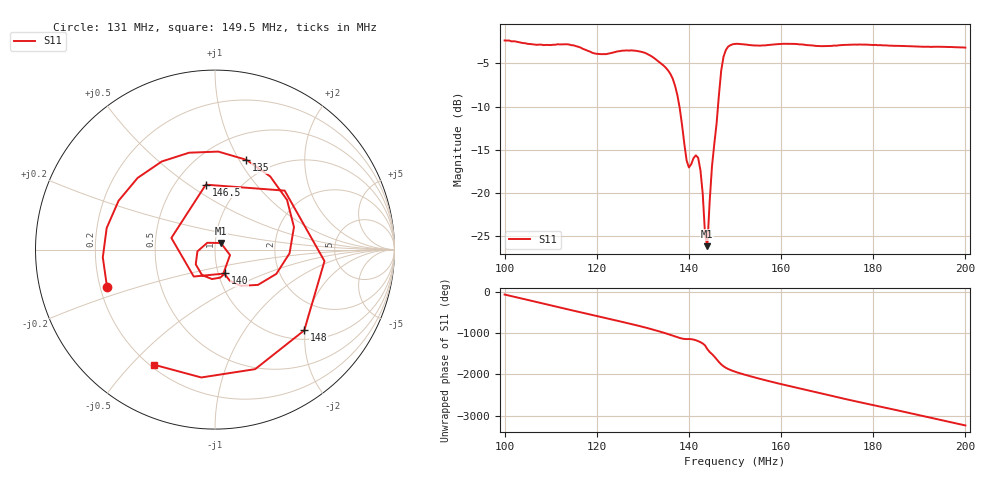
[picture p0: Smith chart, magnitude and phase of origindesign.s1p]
#  HZ  S  RI  R  50.00
! Rohde & Schwarz ZVA40 2Ports - Version 3.12 - 1145.1110k40 SN: 100360
! Date: 2019-07-29 15:19:06
! Measurement: S11
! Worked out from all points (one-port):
!   201 points, 100 MHz to 200 MHz, reference 50 ohm
!   lowest |S11| = -26.2 dB at 144 MHz (marker M1), VSWR 1.10, Z = 53.2 + j3.93 ohm
!   |S11| at or under -10 dB: 137.9 MHz to 146.3 MHz (8.366 MHz wide, 5.89 % of centre)
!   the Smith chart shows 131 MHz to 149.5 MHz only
!   S11 on the Smith chart (normalised r, x): 131 MHz: 0.23, -0.16; 135 MHz: 0.77, +1.07; 140 MHz: 1.08, -0.28; 146.5 MHz: 0.70, +0.59; 148 MHz: 1.21, -1.98; 149.5 MHz: 0.21, -0.58
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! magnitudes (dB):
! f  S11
! 100 MHz  -2.3
! 112.5 MHz  -2.8
! 120 MHz  -3.9
! 125 MHz  -3.6
! 131 MHz  -3.9
! 135 MHz  -5.5
! 136.5 MHz  -6.8
! 137.5 MHz  -8.7
! 139.5 MHz  -16.3
! 140 MHz  -17.1
! 141.5 MHz  -15.7
! 142 MHz  -15.9
! 142.5 MHz  -17.4
! 143 MHz  -20.1
! 143.5 MHz  -24.8
! 144 MHz  -26.2
! 144.5 MHz  -21.0
! 145 MHz  -17.0
! 146 MHz  -12.0
! 146.5 MHz  -8.7
! 147 MHz  -5.9
! 148 MHz  -3.5
! 149.5 MHz  -2.8
! 150 MHz  -2.7
! 162.5 MHz  -2.7
! 175 MHz  -2.8
! 187.5 MHz  -3.0
! 200 MHz  -3.2
